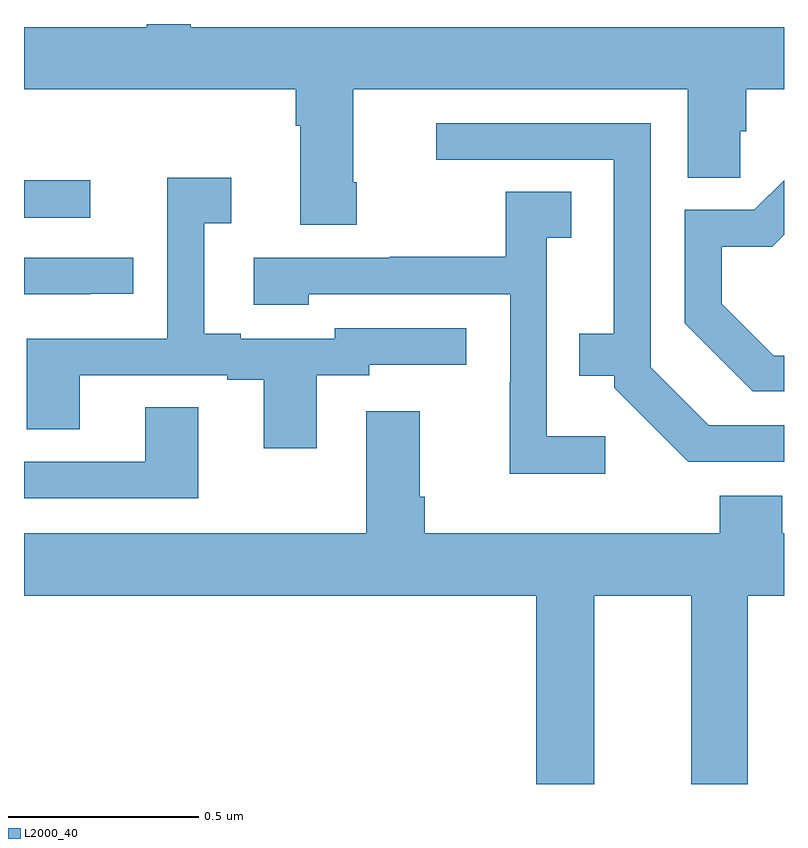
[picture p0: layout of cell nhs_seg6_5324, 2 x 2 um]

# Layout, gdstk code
import gdstk
lib = gdstk.Library(unit=1e-6, precision=1e-09)
def R(c, l, rs):  # rectangles x0, y0, x1, y1
    for r in rs: c.add(gdstk.rectangle(r[:2], r[2:], *l))
def P(c, l, *ps):  # polygons
    for p in ps: c.add(gdstk.Polygon(p, *l))
L2000_40 = (2000, 40)

nhs_seg6_5324 = lib.new_cell('nhs_seg6_5324')
R(nhs_seg6_5324, L2000_40, [(181,954.99,181.174,955.089)])
P(nhs_seg6_5324, L2000_40, [(181.875,955.084),(181.867,955.084),(181.867,955.328),(182.747,955.328),(182.747,955.096),(182.885,955.096),(182.885,955.218),(182.9,955.218),(182.9,955.328),(183,955.328),(183,955.492),(181.439,955.492),(181.439,955.5),(181.323,955.5),(181.323,955.492),(181,955.492),(181,955.328),(181.715,955.328),(181.715,955.232),(181.727,955.232),(181.727,954.972),(181.875,954.972)],
  [(183,954.444),(182.802,954.444),(182.649,954.597),(182.649,955.239),(182.085,955.239),(182.085,955.143),(182.552,955.143),(182.552,954.685),(182.461,954.685),(182.461,954.575),(182.553,954.575),(182.553,954.543),(182.748,954.348),(183,954.348)],
  [(181.771,954.576),(181.908,954.576),(181.908,954.603),(182.164,954.603),(182.164,954.699),(181.818,954.699),(181.818,954.672),(181.57,954.672),(181.57,954.685),(181.474,954.685),(181.474,954.976),(181.546,954.976),(181.546,955.096),(181.377,955.096),(181.377,954.672),(181.007,954.672),(181.007,954.433),(181.147,954.433),(181.147,954.576),(181.535,954.576),(181.535,954.564),(181.631,954.564),(181.631,954.384),(181.771,954.384)],
  [(183,954.627),(182.973,954.627),(182.836,954.764),(182.836,954.914),(182.969,954.914),(183,954.945),(183,955.089),(182.922,955.011),(182.739,955.011),(182.739,954.713),(182.918,954.534),(183,954.534)],
  [(182.53,954.415),(182.376,954.415),(182.376,954.937),(182.44,954.937),(182.44,955.058),(182.268,955.058),(182.268,954.888),(181.963,954.888),(181.963,954.885),(181.605,954.885),(181.605,954.761),(181.749,954.761),(181.749,954.789),(182.28,954.789),(182.28,954.557),(182.278,954.557),(182.278,954.317),(182.53,954.317)],
  [(181.175,954.79),(181.288,954.79),(181.288,954.885),(181,954.885),(181,954.789),(181.175,954.789)],
  [(181.459,954.491),(181.319,954.491),(181.319,954.348),(181,954.348),(181,954.252),(181.459,954.252)],
  [(182.5,953.996),(182.756,953.996),(182.756,953.5),(182.904,953.5),(182.904,953.996),(183,953.996),(183,954.16),(182.996,954.16),(182.996,954.259),(182.831,954.259),(182.831,954.16),(182.054,954.16),(182.054,954.256),(182.041,954.256),(182.041,954.481),(181.901,954.481),(181.901,954.16),(181,954.16),(181,953.996),(182.348,953.996),(182.348,953.5),(182.5,953.5)])

lib.write_gds('nhs_seg6_5324.gds')
